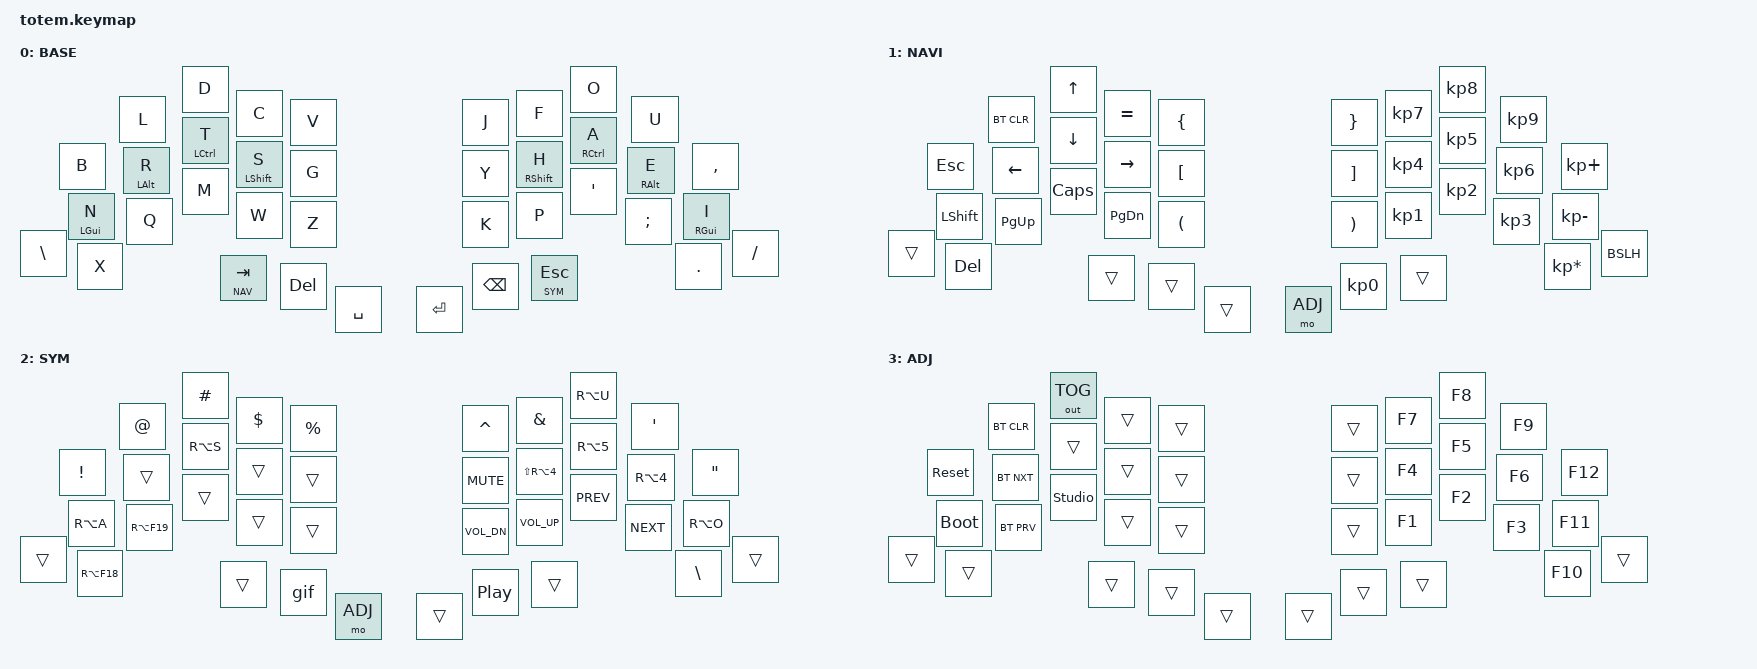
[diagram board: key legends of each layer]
//
//                                                        ▀▀▀▀▀     ▀▀▀▀▀          ▀▀█▀▀
//                                                        ▄▀▀▀▄  ▄  ▄▀▀▀▄  ▄  ▄▀▀▀▄  █  ▄▀▀▀▄
//                                                        █   █  █  █   █  █  █   █  █  █   █
//                                                         ▀▀▀   █   ▀▀▀   █   ▀▀▀   ▀   ▀▀▀
//                                                               █      ▄▄▄█▄▄▄    █   █  
//                                                               ▀      █  █  █     █▄█
//                                                             ▀▀▀▀▀    █  █  █      ▀
//                                                                      ▀  ▀  ▀
//
// ▄▄▄▄▄▄▄▄▄▄▄▄▄▄▄▄▄▄▄▄▄▄▄▄▄▄▄▄▄▄▄▄▄▄▄▄▄▄▄▄▄▄▄▄▄▄▄▄▄▄▄▄▄▄▄▄▄▄▄▄▄▄▄▄▄▄▄▄▄▄▄▄▄▄▄▄▄▄▄▄▄▄▄▄▄▄▄▄▄▄▄▄▄▄▄▄▄▄▄▄▄▄▄▄▄▄▄▄▄▄▄▄▄▄▄▄▄▄▄▄▄▄▄▄▄▄▄▄▄▄▄▄▄▄▄▄▄▄▄▄▄▄▄▄▄▄▄▄▄
       

#include <behaviors.dtsi>
#include <dt-bindings/zmk/keys.h>
#include <dt-bindings/zmk/bt.h>
#include <dt-bindings/zmk/outputs.h>

#define BASE 0
#define NAV  1
#define SYM  2
#define ADJ  3

&mt {
  quick-tap-ms = <100>;
  global-quick-tap;
  flavor = "tap-preferred";
  tapping-term-ms = <170>;
};

/ {
    combos {
            compatible = "zmk,combos";
            combo_esc {
                timeout-ms = <50>;
                key-positions = <0 1>;
                bindings = <&kp ESC>;
            };
    };

    macros {
        gif: gif {
            label = "giphy";
            compatible = "zmk,behavior-macro";
            #binding-cells = <0>;
            bindings
                = <&macro_press &kp LSHFT>
                , <&macro_tap &kp N2>
                , <&macro_release &kp LSHFT>
                , <&macro_tap &kp G &kp I &kp F>
                ;
        };
    };

        keymap {
                compatible = "zmk,keymap";
// ▄▄▄▄▄▄▄▄▄▄▄▄▄▄▄▄▄▄▄▄▄▄▄▄▄▄▄▄▄▄▄▄▄▄▄▄▄▄▄▄▄▄▄▄▄▄▄▄▄▄▄▄▄▄▄▄▄▄▄▄▄▄▄▄▄▄▄▄▄▄▄▄▄▄▄▄▄▄▄▄▄▄▄▄▄▄▄▄▄▄▄▄▄▄▄▄▄▄▄▄▄▄▄▄▄▄▄▄▄▄▄▄▄▄▄▄▄▄▄▄▄▄▄▄▄▄▄▄▄▄▄▄▄▄▄▄▄▄▄▄▄▄▄▄▄▄▄▄▄

                base_layer {
// ┏━━━━━━━━━━━━━━━━━━━━━━━━━━━━━━━━━━━━━━━┓
label= "BASE"                              ;
// ┗━━━━━━━━━━━━━━━━━━━━━━━━━━━━━━━━━━━━━━━┛
//             ┏━━━━━━━━━━━┳━━━━━━━━━━━┳━━━━━━━━━━━┳━━━━━━━━━━━┳━━━━━━━━━━━┓   ┏━━━━━━━━━━━┳━━━━━━━━━━━┳━━━━━━━━━━━┳━━━━━━━━━━━┳━━━━━━━━━━━┓
//             ┃     B     ┃     L     ┃     D     ┃     C     ┃     V     ┃   ┃     J     ┃     F     ┃     O     ┃     U     ┃     ,     ┃
//             ┣━━━━━━━━━━━╋━━━━━━━━━━━╋━━━━━━━━━━━╋━━━━━━━━━━━╋━━━━━━━━━━━┫   ┣━━━━━━━━━━━╋━━━━━━━━━━━╋━━━━━━━━━━━╋━━━━━━━━━━━╋━━━━━━━━━━━┫
//             ┃     N     ┃     R     ┃     T     ┃     S     ┃     G     ┃   ┃     Y     ┃     H     ┃     A     ┃     E     ┃     I     ┃
// ┏━━━━━━━━━━━╋━━━━━━━━━━━╋━━━━━━━━━━━╋━━━━━━━━━━━╋━━━━━━━━━━━╋━━━━━━━━━━━┫   ┣━━━━━━━━━━━╋━━━━━━━━━━━╋━━━━━━━━━━━╋━━━━━━━━━━━╋━━━━━━━━━━━╋━━━━━━━━━━━┓
// ┃     \     ┃     X     ┃     Q     ┃     M     ┃     W     ┃     Z     ┃   ┃     K     ┃     P     ┃     '     ┃     ;     ┃     .     ┃     /     ┃
// ┗━━━━━━━━━━━┻━━━━━━━━━━━┻━━━━━━━━━━━╋━━━━━━━━━━━╋━━━━━━━━━━━╋━━━━━━━━━━━┫   ┣━━━━━━━━━━━╋━━━━━━━━━━━╋━━━━━━━━━━━╋━━━━━━━━━━━┻━━━━━━━━━━━┻━━━━━━━━━━━┛
//                                     ┃    DEL    ┃    TAB    ┃    SPC    ┃   ┃   ENTER   ┃    BSPC   ┃    ESC    ┃
//                                     ┗━━━━━━━━━━━┻━━━━━━━━━━━┻━━━━━━━━━━━┛   ┗━━━━━━━━━━━┻━━━━━━━━━━━┻━━━━━━━━━━━┛
 bindings = <
// ╷           ╷           ╷           ╷           ╷           ╷           ╷   ╷           ╷           ╷           ╷           ╷           ╷           ╷

                &kp B       &kp L       &kp D       &kp C       &kp V           &kp J       &kp F       &kp O       &kp U       &kp COMMA
                &mt LGUI N  &mt LALT R  &mt LCTRL T &mt LSHFT S &kp G           &kp Y       &mt RSHFT H &mt RCTRL A &mt RALT E  &mt RGUI I
    &kp BSLH    &kp X       &kp Q       &kp M       &kp W       &kp Z           &kp K       &kp P       &kp SQT     &kp SEMI    &kp DOT    &kp FSLH
                                        &lt NAV TAB &kp DEL   &kp SPACE       &kp RET     &kp BSPC    &lt SYM ESC
                        >;
                };

// ▄▄▄▄▄▄▄▄▄▄▄▄▄▄▄▄▄▄▄▄▄▄▄▄▄▄▄▄▄▄▄▄▄▄▄▄▄▄▄▄▄▄▄▄▄▄▄▄▄▄▄▄▄▄▄▄▄▄▄▄▄▄▄▄▄▄▄▄▄▄▄▄▄▄▄▄▄▄▄▄▄▄▄▄▄▄▄▄▄▄▄▄▄▄▄▄▄▄▄▄▄▄▄▄▄▄▄▄▄▄▄▄▄▄▄▄▄▄▄▄▄▄▄▄▄▄▄▄▄▄▄▄▄▄▄▄▄▄▄▄▄▄▄▄▄▄▄▄▄


                nav_layer {
// ┏━━━━━━━━━━━━━━━━━━━━━━━━━━━━━━━━━━━━━━━┓
label= "NAVI"                              ;
// ┗━━━━━━━━━━━━━━━━━━━━━━━━━━━━━━━━━━━━━━━┛
//             ┏━━━━━━━━━━━┳━━━━━━━━━━━┳━━━━━━━━━━━┳━━━━━━━━━━━┳━━━━━━━━━━━┓   ┏━━━━━━━━━━━┳━━━━━━━━━━━┳━━━━━━━━━━━┳━━━━━━━━━━━┳━━━━━━━━━━━┓
//             ┃           ┃           ┃     UP    ┃           ┃     {     ┃   ┃     }     ┃     7     ┃     8     ┃     9     ┃     +     ┃
//             ┣━━━━━━━━━━━╋━━━━━━━━━━━╋━━━━━━━━━━━╋━━━━━━━━━━━╋━━━━━━━━━━━┫   ┣━━━━━━━━━━━╋━━━━━━━━━━━╋━━━━━━━━━━━╋━━━━━━━━━━━╋━━━━━━━━━━━┫
//             ┃   SHIFT   ┃   LEFT    ┃    DOWN   ┃   RIGHT   ┃     [     ┃   ┃     ]     ┃     4     ┃     5     ┃     6     ┃     -     ┃
// ┏━━━━━━━━━━━╋━━━━━━━━━━━╋━━━━━━━━━━━╋━━━━━━━━━━━╋━━━━━━━━━━━╋━━━━━━━━━━━┫   ┣━━━━━━━━━━━╋━━━━━━━━━━━╋━━━━━━━━━━━╋━━━━━━━━━━━╋━━━━━━━━━━━╋━━━━━━━━━━━┓
// ┃           ┃           ┃   P UP    ┃  C LOCK   ┃  P DOWN   ┃     (     ┃   ┃     )     ┃     1     ┃     2     ┃     3     ┃     *     ┃     \     ┃
// ┗━━━━━━━━━━━┻━━━━━━━━━━━┻━━━━━━━━━━━╋━━━━━━━━━━━╋━━━━━━━━━━━╋━━━━━━━━━━━┫   ┣━━━━━━━━━━━╋━━━━━━━━━━━╋━━━━━━━━━━━╋━━━━━━━━━━━┻━━━━━━━━━━━┻━━━━━━━━━━━┛
//                                     ┃           ┃    TAB    ┃    SPC    ┃   ┃    DEL    ┃     0     ┃           ┃
//                                     ┗━━━━━━━━━━━┻━━━━━━━━━━━┻━━━━━━━━━━━┛   ┗━━━━━━━━━━━┻━━━━━━━━━━━┻━━━━━━━━━━━┛
 bindings = <
// ╷           ╷           ╷           ╷           ╷           ╷           ╷   ╷           ╷           ╷           ╷           ╷           ╷           ╷

                &kp ESC     &bt BT_CLR  &kp UP      &kp EQUAL   &kp LBRC        &kp RBRC    &kp KP_N7   &kp KP_N8   &kp KP_N9   &kp KP_PLUS
                &kp LSHFT   &kp LEFT    &kp DOWN    &kp RIGHT   &kp LBKT        &kp RBKT    &kp KP_N4   &kp KP_N5   &kp KP_N6   &kp KP_MINUS
    &trans      &kp DEL     &kp PG_UP   &kp CAPS    &kp PG_DN   &kp LPAR        &kp RPAR    &kp KP_N1   &kp KP_N2   &kp KP_N3   &kp KP_MULTIPLY &BSLH      
                                        &trans      &trans      &trans          &mo ADJ     &kp KP_N0   &trans      
                        >;
                };

// ▄▄▄▄▄▄▄▄▄▄▄▄▄▄▄▄▄▄▄▄▄▄▄▄▄▄▄▄▄▄▄▄▄▄▄▄▄▄▄▄▄▄▄▄▄▄▄▄▄▄▄▄▄▄▄▄▄▄▄▄▄▄▄▄▄▄▄▄▄▄▄▄▄▄▄▄▄▄▄▄▄▄▄▄▄▄▄▄▄▄▄▄▄▄▄▄▄▄▄▄▄▄▄▄▄▄▄▄▄▄▄▄▄▄▄▄▄▄▄▄▄▄▄▄▄▄▄▄▄▄▄▄▄▄▄▄▄▄▄▄▄▄▄▄▄▄▄▄▄


                sim_layer {
// ┏━━━━━━━━━━━━━━━━━━━━━━━━━━━━━━━━━━━━━━━┓
label= "SYM"                               ;
// ┗━━━━━━━━━━━━━━━━━━━━━━━━━━━━━━━━━━━━━━━┛
//             ┏━━━━━━━━━━━┳━━━━━━━━━━━┳━━━━━━━━━━━┳━━━━━━━━━━━┳━━━━━━━━━━━┓   ┏━━━━━━━━━━━┳━━━━━━━━━━━┳━━━━━━━━━━━┳━━━━━━━━━━━┳━━━━━━━━━━━┓
//             ┃     !     ┃     @     ┃     #     ┃     $     ┃     %     ┃   ┃     ˆ     ┃     &     ┃     Ü     ┃     '     ┃     "     ┃
//             ┣━━━━━━━━━━━╋━━━━━━━━━━━╋━━━━━━━━━━━╋━━━━━━━━━━━╋━━━━━━━━━━━┫   ┣━━━━━━━━━━━╋━━━━━━━━━━━╋━━━━━━━━━━━╋━━━━━━━━━━━╋━━━━━━━━━━━┫
//             ┃     Ä     ┃           ┃    SZ     ┃           ┃           ┃   ┃   MUTE    ┃   YEN     ┃   EURO    ┃  POUND    ┃     Ö     ┃
// ┏━━━━━━━━━━━╋━━━━━━━━━━━╋━━━━━━━━━━━╋━━━━━━━━━━━╋━━━━━━━━━━━╋━━━━━━━━━━━┫   ┣━━━━━━━━━━━╋━━━━━━━━━━━╋━━━━━━━━━━━╋━━━━━━━━━━━╋━━━━━━━━━━━╋━━━━━━━━━━━┓
// ┃           ┃  EMAIL1   ┃  EMAIL2   ┃           ┃           ┃           ┃   ┃   VOL-    ┃   VOL+    ┃   LAST    ┃   NEXT    ┃     \     ┃           ┃
// ┗━━━━━━━━━━━┻━━━━━━━━━━━┻━━━━━━━━━━━╋━━━━━━━━━━━╋━━━━━━━━━━━╋━━━━━━━━━━━┫   ┣━━━━━━━━━━━╋━━━━━━━━━━━╋━━━━━━━━━━━╋━━━━━━━━━━━┻━━━━━━━━━━━┻━━━━━━━━━━━┛
//                                     ┃           ┃    GIF    ┃    ADJ    ┃   ┃           ┃           ┃           ┃
//                                     ┗━━━━━━━━━━━┻━━━━━━━━━━━┻━━━━━━━━━━━┛   ┗━━━━━━━━━━━┻━━━━━━━━━━━┻━━━━━━━━━━━┛
 bindings = <
// ╷           ╷           ╷           ╷           ╷           ╷           ╷   ╷           ╷           ╷           ╷           ╷           ╷           ╷

                &kp EXCL    &kp AT      &kp HASH    &kp DLLR    &kp PRCNT       &kp CARET   &kp AMPS    &kp RA(U)   &kp SQT     &kp DQT       
                &kp RA(A)   &trans      &kp RA(S)   &trans      &trans          &kp C_MUTE  &kp LS(RA(N4)) &kp RA(N5) &kp RA(N4)   &kp RA(O) 
    &trans      &kp RA(F18) &kp RA(F19) &trans      &trans      &trans          &kp C_VOL_DN &kp C_VOL_UP &kp C_PREV &kp C_NEXT  &kp BSLH   &trans         
                                        &trans      &gif        &mo ADJ         &trans      &kp C_PP    &trans      
                        >;
                };

// ▄▄▄▄▄▄▄▄▄▄▄▄▄▄▄▄▄▄▄▄▄▄▄▄▄▄▄▄▄▄▄▄▄▄▄▄▄▄▄▄▄▄▄▄▄▄▄▄▄▄▄▄▄▄▄▄▄▄▄▄▄▄▄▄▄▄▄▄▄▄▄▄▄▄▄▄▄▄▄▄▄▄▄▄▄▄▄▄▄▄▄▄▄▄▄▄▄▄▄▄▄▄▄▄▄▄▄▄▄▄▄▄▄▄▄▄▄▄▄▄▄▄▄▄▄▄▄▄▄▄▄▄▄▄▄▄▄▄▄▄▄▄▄▄▄▄▄▄▄


                adjust_layer {
// ┏━━━━━━━━━━━━━━━━━━━━━━━━━━━━━━━━━━━━━━━┓
label= "ADJ"                               ;
// ┗━━━━━━━━━━━━━━━━━━━━━━━━━━━━━━━━━━━━━━━┛
//             ┏━━━━━━━━━━━┳━━━━━━━━━━━┳━━━━━━━━━━━┳━━━━━━━━━━━┳━━━━━━━━━━━┓   ┏━━━━━━━━━━━┳━━━━━━━━━━━┳━━━━━━━━━━━┳━━━━━━━━━━━┳━━━━━━━━━━━┓
//             ┃   RESET   ┃ BT CLEAR  ┃  OUT TOG  ┃           ┃           ┃   ┃           ┃    F7     ┃    F8     ┃    F9     ┃    F12    ┃
//             ┣━━━━━━━━━━━╋━━━━━━━━━━━╋━━━━━━━━━━━╋━━━━━━━━━━━╋━━━━━━━━━━━┫   ┣━━━━━━━━━━━╋━━━━━━━━━━━╋━━━━━━━━━━━╋━━━━━━━━━━━╋━━━━━━━━━━━┫
//             ┃ BOOTLOAD  ┃ BT NEXT   ┃           ┃           ┃           ┃   ┃           ┃    F4     ┃    F5     ┃    F6     ┃    F11    ┃
// ┏━━━━━━━━━━━╋━━━━━━━━━━━╋━━━━━━━━━━━╋━━━━━━━━━━━╋━━━━━━━━━━━╋━━━━━━━━━━━┫   ┣━━━━━━━━━━━╋━━━━━━━━━━━╋━━━━━━━━━━━╋━━━━━━━━━━━╋━━━━━━━━━━━╋━━━━━━━━━━━┓
// ┃           ┃           ┃ BT PREV   ┃           ┃           ┃           ┃   ┃           ┃    F1     ┃    F2     ┃    F3     ┃    F10    ┃           ┃
// ┗━━━━━━━━━━━┻━━━━━━━━━━━┻━━━━━━━━━━━╋━━━━━━━━━━━╋━━━━━━━━━━━╋━━━━━━━━━━━┫   ┣━━━━━━━━━━━╋━━━━━━━━━━━╋━━━━━━━━━━━╋━━━━━━━━━━━┻━━━━━━━━━━━┻━━━━━━━━━━━┛
//                                     ┃           ┃           ┃           ┃   ┃           ┃           ┃           ┃
//                                     ┗━━━━━━━━━━━┻━━━━━━━━━━━┻━━━━━━━━━━━┛   ┗━━━━━━━━━━━┻━━━━━━━━━━━┻━━━━━━━━━━━┛
 bindings = <
// ╷           ╷           ╷           ╷           ╷           ╷           ╷   ╷           ╷           ╷           ╷           ╷           ╷           ╷

                &sys_reset  &bt BT_CLR &out OUT_TOG &trans      &trans          &trans      &kp F7      &kp F8      &kp F9      &kp F12
                &bootloader &bt BT_NXT  &trans      &trans      &trans          &trans      &kp F4      &kp F5      &kp F6      &kp F11  
    &trans      &trans      &bt BT_PRV  &studio_unlock      &trans      &trans          &trans      &kp F1      &kp F2      &kp F3      &kp F10     &trans         
                                        &trans      &trans      &trans          &trans      &trans      &trans      
                        >;
                };
        };
};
